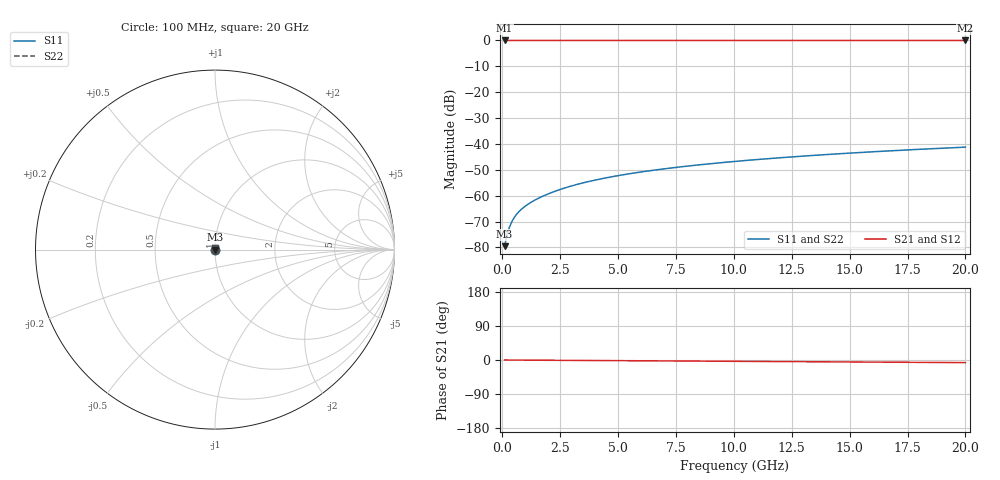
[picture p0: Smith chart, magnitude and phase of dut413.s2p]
! Touchstone file exported from HFSS 2026.1.0
!  File:  C:/ffzhzh/LocalFiles/Ansys_Project_Files/temp_train_TSV_413_1783020608_55676.aedt
!  Generated:  03:31:59 AM Jul  3, 2026
!  Design:  TSV
!  Project:  temp_train_TSV_413_1783020608_55676
! Variables:
!  h_bsmrdl = 2um
!  h_ox = 20um
!  h_rdl = 5um
!  h_sub = 64.25um
!  h_tmrdl = 5um
!  h_tsv = 64.25um
!  h_via = 3um
!  l_bsmrdl = 300um
!  l_sub = 426.04um
!  l_tmrdl = 200um
!  m_sub = 200um
!  pitch = 55.55um
!  r_tsv = 13.02um
!  s_tmrdl = 10um
!  w_bsmrdl = 18um
!  w_sub = 500um
!  w_tmrdl = 12um
!  x_tsv_center1 = 206um
!  x_tsv_center2 = 524um
!  x_tsv_center3 = 736um
!  x_tsv_center4 = 1054um
!  x_tsv_center5 = 1266um
!  x_tsv_center6 = 1584um
# GHz S MA R 50.000000
! Terminal data exported
! Port[1] = TSV1_1_T1
! Port[2] = TSV1_1_T2
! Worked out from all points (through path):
!   200 points, 100 MHz to 20 GHz, reference 50 ohm
!   highest |S21| = 0.00 dB at 100 MHz (marker M1); lowest = 0.0 dB at 20 GHz (marker M2)
!   lowest |S11| = -79.5 dB at 100 MHz (marker M3), VSWR 1.00, Z = 50 + j0.00766 ohm
!   |S11| at or under -10 dB: start of sweep to end of sweep
!   |S22| runs from -79.5 to -41.2 dB; largest |S21 - S12| = 1.2e-15
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0.1  0.000106 46.2  0.9999 -0.0  0.9999 -0.0  0.000106 46.2
! Gamma 0 0 0 0
! Port Impedance 50 0 50 0
0.2  0.0001722 61.0  0.9999 -0.1  0.9999 -0.1  0.0001722 61.0
0.3  0.0002413 65.8  0.9999 -0.1  0.9999 -0.1  0.0002413 65.8
0.4  0.0003075 67.7  0.9999 -0.1  0.9999 -0.1  0.0003075 67.7
0.5  0.0003697 68.5  0.9999 -0.2  0.9999 -0.2  0.0003697 68.5
0.6  0.0004279 68.9  0.9998 -0.2  0.9998 -0.2  0.0004279 68.9
0.7  0.0004827 69.2  0.9998 -0.2  0.9998 -0.2  0.0004827 69.2
0.9  0.0005849 69.8  0.9998 -0.3  0.9998 -0.3  0.0005849 69.8
1.1  0.000681 70.6  0.9998 -0.4  0.9998 -0.4  0.000681 70.6
1.3  0.0007741 71.4  0.9998 -0.5  0.9998 -0.5  0.0007741 71.4
1.6  0.0009117 72.6  0.9997 -0.6  0.9997 -0.6  0.0009117 72.6
1.9  0.001049 73.7  0.9997 -0.7  0.9997 -0.7  0.001049 73.7
2.6  0.001368 75.5  0.9997 -0.9  0.9997 -0.9  0.001368 75.5
3.5  0.001777 76.9  0.9996 -1.2  0.9996 -1.2  0.001777 76.9
4.2  0.002091 77.5  0.9996 -1.5  0.9996 -1.5  0.002091 77.5
5  0.002446 77.9  0.9996 -1.7  0.9996 -1.7  0.002446 77.9
6.8  0.003227 78.5  0.9995 -2.4  0.9995 -2.4  0.003227 78.5
8.3  0.003867 78.7  0.9994 -2.9  0.9994 -2.9  0.003867 78.7
10.1  0.004626 78.7  0.9994 -3.5  0.9994 -3.5  0.004626 78.7
13.4  0.006 78.5  0.9993 -4.6  0.9993 -4.6  0.006 78.5
16.7  0.007353 78.0  0.9992 -5.8  0.9992 -5.8  0.007353 78.0
20  0.008682 77.2  0.9991 -6.9  0.9991 -6.9  0.008682 77.2
